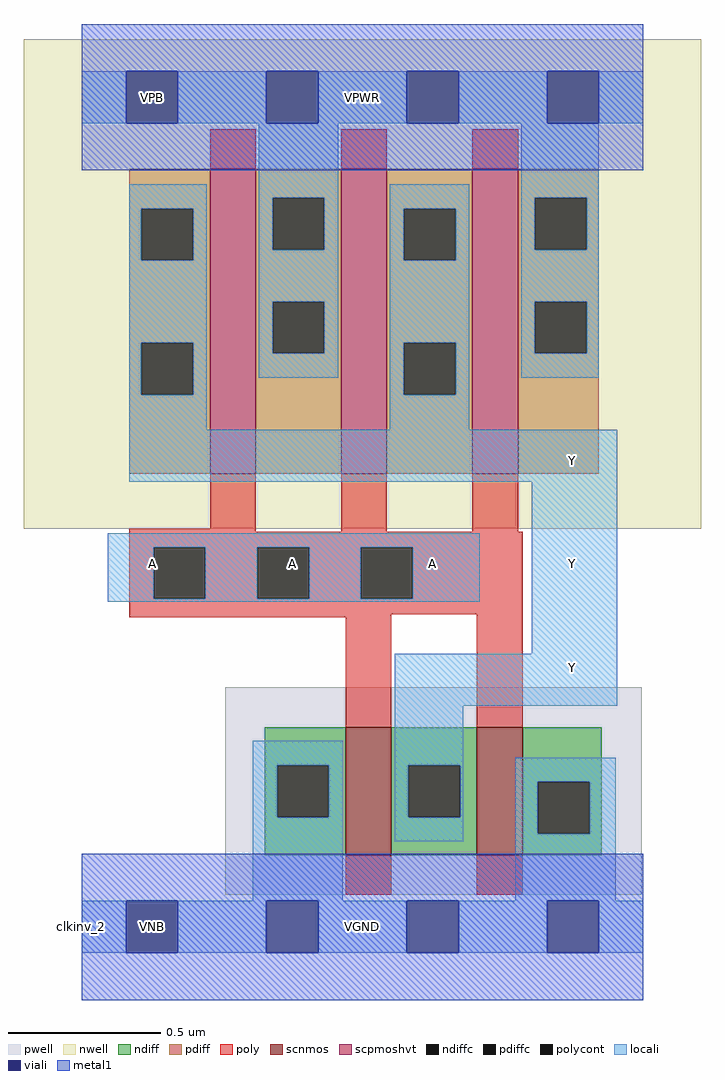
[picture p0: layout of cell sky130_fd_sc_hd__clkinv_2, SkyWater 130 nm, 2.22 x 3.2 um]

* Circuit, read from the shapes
.subckt sky130_fd_sc_hd__clkinv_2 A VGND VNB VPB VPWR Y
XM1 Y A VGND VNB sky130_fd_pr__nfet_01v8 w=0.42 l=0.15 m=2
XM2 VPWR A Y VPB sky130_fd_pr__pfet_01v8_hvt w=1 l=0.15 m=3
.ends

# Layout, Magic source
magic
tech sky130B
magscale 1 2
<< nwell >>
rect -38 261 406 582
<< pwell >>
rect 94 21 367 157
rect 29 -17 63 17
<< scnmos >>
rect 173 47 203 131
rect 259 47 289 131
<< scpmoshvt >>
rect 84 297 114 497
rect 170 297 200 497
rect 256 297 286 497
<< ndiff >>
rect 120 106 173 131
rect 120 72 128 106
rect 162 72 173 106
rect 120 47 173 72
rect 203 106 259 131
rect 203 72 214 106
rect 248 72 259 106
rect 203 47 259 72
rect 289 95 341 131
rect 289 61 299 95
rect 333 61 341 95
rect 289 47 341 61
<< pdiff >>
rect 31 471 84 497
rect 31 437 39 471
rect 73 437 84 471
rect 31 383 84 437
rect 31 349 39 383
rect 73 349 84 383
rect 31 297 84 349
rect 114 478 170 497
rect 114 444 125 478
rect 159 444 170 478
rect 114 410 170 444
rect 114 376 125 410
rect 159 376 170 410
rect 114 297 170 376
rect 200 471 256 497
rect 200 437 211 471
rect 245 437 256 471
rect 200 383 256 437
rect 200 349 211 383
rect 245 349 256 383
rect 200 297 256 349
rect 286 478 339 497
rect 286 444 297 478
rect 331 444 339 478
rect 286 410 339 444
rect 286 376 297 410
rect 331 376 339 410
rect 286 297 339 376
<< ndiffc >>
rect 128 72 162 106
rect 214 72 248 106
rect 299 61 333 95
<< pdiffc >>
rect 39 437 73 471
rect 39 349 73 383
rect 125 444 159 478
rect 125 376 159 410
rect 211 437 245 471
rect 211 349 245 383
rect 297 444 331 478
rect 297 376 331 410
<< poly >>
rect 84 497 114 523
rect 170 497 200 523
rect 256 497 286 523
rect 84 261 114 297
rect 31 259 114 261
rect 170 259 200 297
rect 256 259 286 297
rect 31 249 289 259
rect 31 215 47 249
rect 81 215 115 249
rect 149 215 183 249
rect 217 215 289 249
rect 31 205 289 215
rect 31 203 203 205
rect 173 131 203 203
rect 259 131 289 205
rect 173 21 203 47
rect 259 21 289 47
<< polycont >>
rect 47 215 81 249
rect 115 215 149 249
rect 183 215 217 249
<< locali >>
rect 0 527 29 561
rect 63 527 121 561
rect 155 527 213 561
rect 247 527 305 561
rect 339 527 368 561
rect 31 471 82 487
rect 31 437 39 471
rect 73 437 82 471
rect 31 383 82 437
rect 31 349 39 383
rect 73 349 82 383
rect 116 478 168 527
rect 116 444 125 478
rect 159 444 168 478
rect 116 410 168 444
rect 116 376 125 410
rect 159 376 168 410
rect 116 360 168 376
rect 202 471 254 487
rect 202 437 211 471
rect 245 437 254 471
rect 202 383 254 437
rect 31 326 82 349
rect 202 349 211 383
rect 245 349 254 383
rect 288 478 339 527
rect 288 444 297 478
rect 331 444 339 478
rect 288 410 339 444
rect 288 376 297 410
rect 331 376 339 410
rect 288 360 339 376
rect 202 326 254 349
rect 31 292 351 326
rect 17 249 261 258
rect 17 215 47 249
rect 81 215 115 249
rect 149 215 183 249
rect 217 215 261 249
rect 17 213 261 215
rect 295 179 351 292
rect 205 145 351 179
rect 112 106 171 122
rect 112 72 128 106
rect 162 72 171 106
rect 112 17 171 72
rect 205 106 250 145
rect 205 72 214 106
rect 248 72 250 106
rect 205 56 250 72
rect 284 95 350 111
rect 284 61 299 95
rect 333 61 350 95
rect 284 17 350 61
rect 0 -17 29 17
rect 63 -17 121 17
rect 155 -17 213 17
rect 247 -17 305 17
rect 339 -17 368 17
<< viali >>
rect 29 527 63 561
rect 121 527 155 561
rect 213 527 247 561
rect 305 527 339 561
rect 29 -17 63 17
rect 121 -17 155 17
rect 213 -17 247 17
rect 305 -17 339 17
<< metal1 >>
rect 0 561 368 592
rect 0 527 29 561
rect 63 527 121 561
rect 155 527 213 561
rect 247 527 305 561
rect 339 527 368 561
rect 0 496 368 527
rect 0 17 368 48
rect 0 -17 29 17
rect 63 -17 121 17
rect 155 -17 213 17
rect 247 -17 305 17
rect 339 -17 368 17
rect 0 -48 368 -17
<< labels >>
flabel locali s 305 153 339 187 0 FreeSans 400 0 0 0 Y
port 6 nsew signal output
flabel locali s 305 221 339 255 0 FreeSans 400 0 0 0 Y
port 6 nsew signal output
flabel locali s 305 289 339 323 0 FreeSans 400 0 0 0 Y
port 6 nsew signal output
flabel locali s 213 221 247 255 0 FreeSans 400 0 0 0 A
port 1 nsew signal input
flabel locali s 121 221 155 255 0 FreeSans 400 0 0 0 A
port 1 nsew signal input
flabel locali s 29 221 63 255 0 FreeSans 400 0 0 0 A
port 1 nsew signal input
flabel pwell s 29 -17 63 17 0 FreeSans 200 0 0 0 VNB
port 3 nsew ground bidirectional
flabel nwell s 29 527 63 561 0 FreeSans 200 0 0 0 VPB
port 4 nsew power bidirectional
flabel metal1 s 29 527 63 561 0 FreeSans 200 0 0 0 VPWR
port 5 nsew power bidirectional abutment
flabel metal1 s 29 -17 63 17 0 FreeSans 200 0 0 0 VGND
port 2 nsew ground bidirectional abutment
rlabel comment s 0 0 0 0 4 clkinv_2
rlabel metal1 s 0 -48 368 48 1 VGND
port 2 nsew ground bidirectional abutment
rlabel metal1 s 0 496 368 592 1 VPWR
port 5 nsew power bidirectional abutment
<< properties >>
string FIXED_BBOX 0 0 368 544
string GDS_END 3289380
string GDS_FILE $PDKPATH/libs.ref/sky130_fd_sc_hd/gds/sky130_fd_sc_hd.gds
string GDS_START 3285138
string LEFclass CORE
string LEFsite unithd
string LEFsymmetry X Y R90
string path 0.000 0.000 9.200 0.000 
<< end >>
